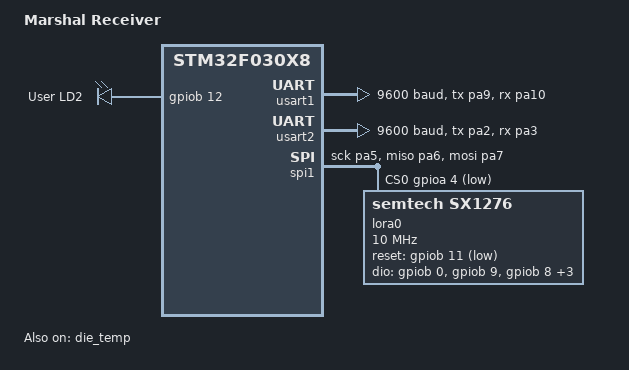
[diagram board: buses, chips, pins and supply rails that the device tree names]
/*
 * Copyright (c) 2025 Aaron Chan
 *
 * SPDX-License-Identifier: Apache-2.0
 */

/dts-v1/;
#include <st/f0/stm32f030X8.dtsi>
#include <st/f0/stm32f030c8tx-pinctrl.dtsi>
#include <zephyr/dt-bindings/input/input-event-codes.h>

/ {
	model = "Marshal Receiver";
	compatible = "st,stm32f030x8";

	chosen {
		zephyr,console = &usart2;
		zephyr,shell-uart = &usart2;
		zephyr,sram = &sram0;
		zephyr,flash = &flash0;
	};

	leds: leds {
		compatible = "gpio-leds";
		led: led {
			gpios = <&gpiob 12 GPIO_ACTIVE_HIGH>;
			label = "User LD2";
		};
	};

	aliases {
		dbg-uart = &usart1;
		gnss-uart = &usart2;
		lora = &lora0;
		led0 = &led;
		watchdog0 = &iwdg;
		die-temp0 = &die_temp;
	};
};

&pll {
	prediv = <2>;
	mul = <12>;
	clocks = <&clk_hsi>;
	status = "okay";
};

&rcc {
	clocks = <&pll>;
	clock-frequency = <DT_FREQ_M(48)>;
	ahb-prescaler = <1>;
	apb1-prescaler = <1>;
};


// DEBUG UART
&usart1 {
	pinctrl-0 = <&usart1_tx_pa9 &usart1_rx_pa10>;
	pinctrl-names = "default";
	current-speed = <9600>;
	status = "okay";
};

// USB UART
&usart2 {
	pinctrl-0 = <&usart2_tx_pa2 &usart2_rx_pa3>;
	pinctrl-names = "default";
	current-speed = <9600>;
	status = "okay";
};

&spi1 {
	pinctrl-0 = <&spi1_sck_pa5 &spi1_miso_pa6 &spi1_mosi_pa7>;
	pinctrl-names = "default";
	cs-gpios = <&gpioa 4 (GPIO_ACTIVE_LOW | GPIO_PULL_UP)>;
	status = "okay";

	lora0: lora0@0 {
        compatible = "semtech,sx1276";
        reg = <0>;
        reset-gpios = <&gpiob 11 GPIO_ACTIVE_LOW>;
        dio-gpios = <&gpiob 0 (GPIO_PULL_DOWN | GPIO_ACTIVE_HIGH)>,
                    <&gpiob 9 (GPIO_PULL_DOWN | GPIO_ACTIVE_HIGH)>,
                    <&gpiob 8 (GPIO_PULL_DOWN | GPIO_ACTIVE_HIGH)>,
                    <&gpiob 2 (GPIO_PULL_DOWN | GPIO_ACTIVE_HIGH)>,
                    <&gpiob 1 (GPIO_PULL_DOWN | GPIO_ACTIVE_HIGH)>,
                    <&gpiob 10 (GPIO_PULL_DOWN | GPIO_ACTIVE_HIGH)>;
        power-amplifier-output = "pa-boost";
        spi-max-frequency = <DT_FREQ_M(10)>;
        status = "okay";
    };
};

&die_temp {
	status = "okay";
};

&flash0 {
	partitions {
		compatible = "fixed-partitions";
		#address-cells = <1>;
		#size-cells = <1>;

		/* Set 2KB of storage at the end of 128KB flash */
		storage_partition: partition@1f800 {
			label = "storage";
			reg = <0x0001f800 DT_SIZE_K(2)>;
		};
	};
};
